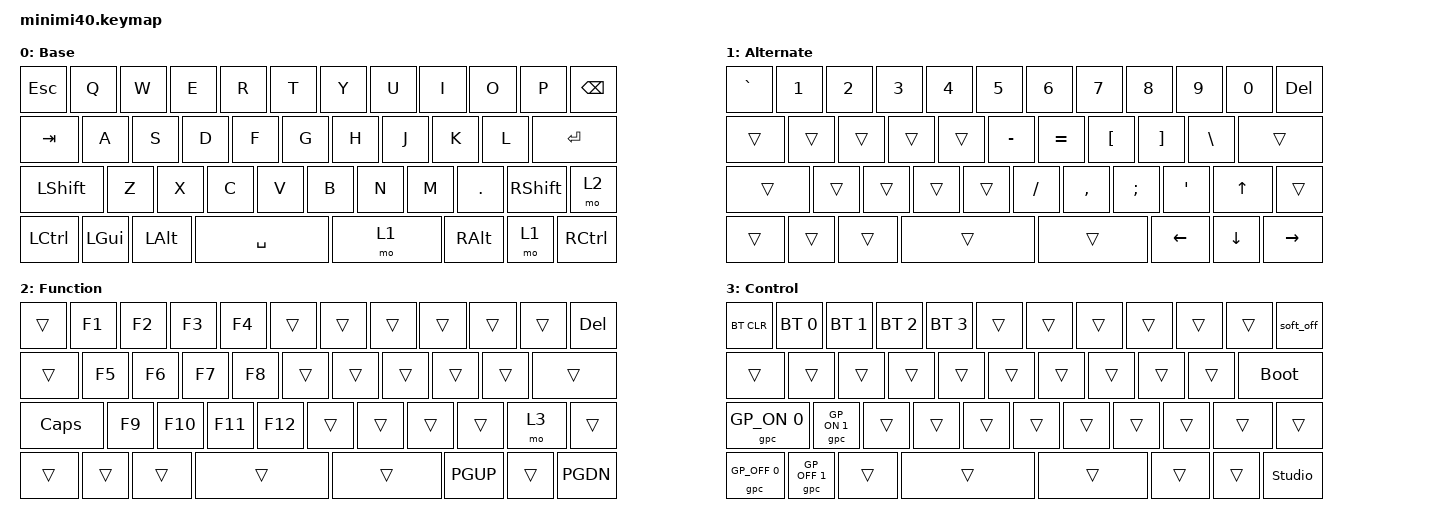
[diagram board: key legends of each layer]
/*
 * Copyright (c) 2024 CannonKeys LLC
 *
 * SPDX-License-Identifier: MIT
 */

#include <behaviors.dtsi>
#include <dt-bindings/zmk/keys.h>
#include <dt-bindings/zmk/bt.h>
#include <dt-bindings/zmk/control_gpio.h>

/ {
    keymap {
        compatible = "zmk,keymap";

        default_layer {
            display-name = "Base";
            bindings = <
    &kp ESC   &kp Q     &kp W     &kp E     &kp R     &kp T     &kp Y     &kp U     &kp I     &kp O     &kp P    &kp BSPC
    &kp TAB   &kp A     &kp S     &kp D     &kp F     &kp G     &kp H     &kp J     &kp K     &kp L     &kp RET
    &kp LSHFT &kp Z     &kp X     &kp C     &kp V     &kp B     &kp N     &kp M               &kp DOT   &kp RSHFT  &mo 2
    &kp LCTRL &kp LGUI  &kp LALT            &kp SPACE           &mo 1           &kp RALT  &mo 1     &kp RCTRL
                >;
        };

        alternate_layer {
            display-name = "Alternate";
            bindings = <
    &kp GRAVE &kp N1  &kp N2  &kp N3     &kp N4   &kp N5   &kp N6     &kp N7    &kp N8    &kp N9    &kp N0    &kp DEL
    &trans   &trans  &trans  &trans     &trans  &kp MINUS &kp EQUAL  &kp LBKT  &kp RBKT  &kp BSLH  &trans
    &trans   &trans  &trans  &trans     &trans  &kp FSLH &kp COMMA &kp SEMI    &kp APOS    &kp UP    &trans
    &trans   &trans  &trans             &trans            &trans               &kp LEFT  &kp DOWN  &kp RIGHT
                >;
        };

        function_layer {
            display-name = "Function";
            bindings = <
    &trans   &kp F1  &kp F2  &kp F3     &kp F4   &trans   &trans     &trans    &trans    &trans    &trans    &kp DEL
    &trans   &kp F5  &kp F6  &kp F7     &kp F8   &trans   &trans     &trans    &trans    &trans    &trans
    &kp CAPS &kp F9  &kp F10 &kp F11    &kp F12  &trans   &trans     &trans              &trans    &mo 3    &trans
    &trans   &trans  &trans             &trans            &trans               &kp PGUP  &trans    &kp PGDN
                >;
        };

        control_layer {
            display-name = "Control";
            bindings = <
    &bt BT_CLR    &bt BT_SEL 0  &bt BT_SEL 1  &bt BT_SEL 2     &bt BT_SEL 3   &trans   &trans     &trans    &trans    &trans    &trans    &soft_off
    &trans        &trans  &trans  &trans     &trans   &trans   &trans     &trans    &trans    &trans    &bootloader
    &gpc GP_ON 0  &gpc GP_ON 1  &trans  &trans     &trans   &trans   &trans     &trans              &trans    &trans    &trans
    &gpc GP_OFF 0 &gpc GP_OFF 1  &trans             &trans            &trans               &trans    &trans    &studio_unlock
                >;
        };
    };

    combos {
        compatible = "zmk,combos";
        combo_bt {
            timeout-ms = <50>;
            key-positions = <32 33>;
            bindings = <&mo 3>;
        };
    };
};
